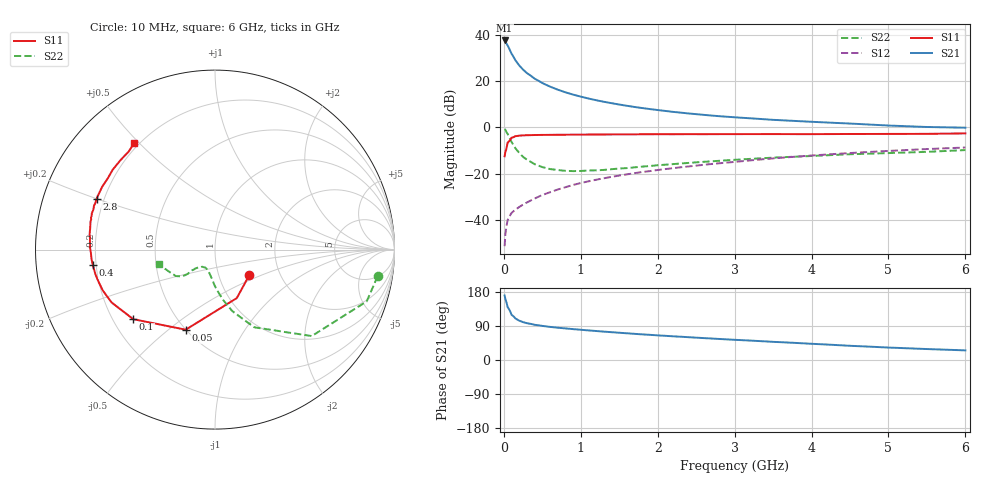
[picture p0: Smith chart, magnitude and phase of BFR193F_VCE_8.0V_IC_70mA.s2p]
! Infineon Technologies  Discrete & RF Semiconductors
! BFR193F
! VCE =  8.0 V,  IC =  70 mA
! Common Emitter S-Parameters:  Jan 2017
# GHz  S  MA  R  50
!  f  S11  S21  S12  S22
! GHz  MAG  ANG  MAG  ANG  MAG  ANG  MAG  ANG
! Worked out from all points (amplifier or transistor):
!   77 points, 10 MHz to 6 GHz, reference 50 ohm
!   highest |S21| = 37.7 dB at 10 MHz (marker M1)
!   |S21| within 3 dB of that: start of sweep to 61.98 MHz
!   unconditionally stable (mu >= 1): 722.8 MHz to 2.634 GHz
!   at 130 MHz: K = 0.52, MSG = 33.2 dB, |S12| = -36.1 dB
!   at 2.2 GHz: K = 1.02, MAG = 11.3 dB, |S12| = -17.6 dB
!   at 6 GHz: K = 0.86, MSG = 4.3 dB, |S12| = -8.7 dB
!   S11 on the Smith chart (normalised r, x): 10 MHz: 1.40, -0.42; 50 MHz: 0.50, -0.57; 100 MHz: 0.28, -0.34; 400 MHz: 0.19, -0.06; 2.8 GHz: 0.17, +0.20; 6 GHz: 0.18, +0.48
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0.01  0.2386 -37.0  76.36 170.3  0.0027 81.3  0.9181 -9.3
0.02  0.2962 -65.8  73.03 161.0  0.0049 77.5  0.893 -18.9
0.05  0.4753 -110.1  59.27 139.3  0.01 59.4  0.7228 -41.8
0.1  0.598 -139.6  39.55 119.3  0.0141 54.2  0.4851 -63.2
0.15  0.647 -152.9  28.5 109.7  0.0166 52.1  0.355 -74.4
0.2  0.6652 -159.9  22.03 103.8  0.019 54.6  0.2821 -81.1
0.25  0.6738 -164.9  17.84 99.9  0.0215 57.1  0.2311 -86.4
0.3  0.68 -168.2  15.03 97.1  0.0238 59.6  0.2014 -90.4
0.4  0.6864 -172.8  11.37 92.9  0.0289 63.5  0.1604 -96.8
0.5  0.6903 -175.9  9.155 90.0  0.0346 66.6  0.139 -102.0
0.6  0.6916 -178.5  7.669 87.4  0.0396 69.5  0.1259 -106.8
0.7  0.6959 179.4  6.588 85.2  0.0454 70.8  0.12 -110.7
0.8  0.6964 177.8  5.77 83.4  0.0509 71.8  0.1153 -115.1
0.9  0.6986 175.9  5.148 81.5  0.057 73.5  0.1137 -118.1
1.1  0.7033 173.2  4.231 78.1  0.0683 74.6  0.117 -123.3
1.5  0.7088 168.5  3.136 71.9  0.0911 75.0  0.1292 -131.0
2.1  0.7143 162.7  2.278 63.8  0.1259 75.2  0.1566 -136.4
2.8  0.7177 156.8  1.754 55.5  0.168 73.9  0.1899 -138.7
3.1  0.718 154.3  1.62 52.3  0.1866 73.2  0.2042 -138.5
4.1  0.718 145.5  1.304 41.8  0.2535 69.1  0.2458 -142.7
5.1  0.7251 135.6  1.085 32.1  0.3168 63.5  0.2825 -153.9
6  0.7446 127.2  0.989 25.4  0.3683 58.0  0.3244 -165.2
